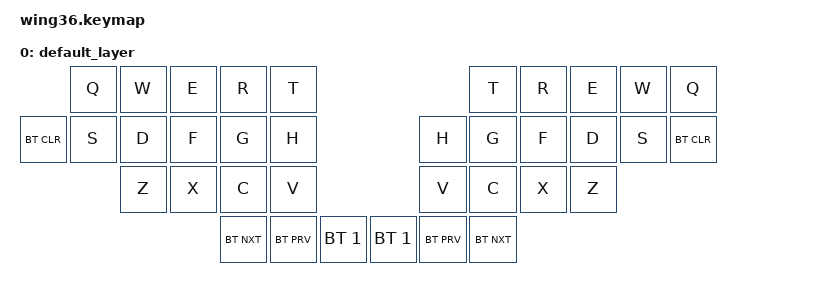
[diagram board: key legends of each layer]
#include <behaviors.dtsi>
#include <dt-bindings/zmk/keys.h>
#include <dt-bindings/zmk/bt.h>

/ { 
    keymap {
        compatible = "zmk,keymap";
            
        default_layer {
    //        | SW2  | SW4  | SW7  | SW10 | SW13 |                              | SW21 | SW25 | SW28 | SW31 | SW34 |       
    // | SW1  | SW3  | SW5  | SW8  | SW11 | SW14 |                              | SW22 | SW26 | SW29 | SW32 | SW35 | SW36 |
    //               | SW6  | SW9  | SW12 | SW15 |                              | SW23 | SW27 | SW30 | SW33 |              
    //                                    | SW16 | SW17 | SW18 |  | SW19 | SW20 | SW24 |   
    bindings = <
               &kp Q &kp W &kp E &kp R &kp T 						                                      &kp T &kp R &kp E &kp W &kp Q 
    &bt BT_CLR &kp S &kp D &kp F &kp G &kp H			        	                                  &kp H &kp G &kp F &kp D &kp S &bt BT_CLR
                     &kp Z &kp X &kp C &kp V				                                          &kp V &kp C &kp X &kp Z 
                                 &bt BT_NXT &bt BT_PRV &bt BT_SEL 1	  &bt BT_SEL 1 &bt BT_PRV &bt BT_NXT 
    >;

    };
  };
};
